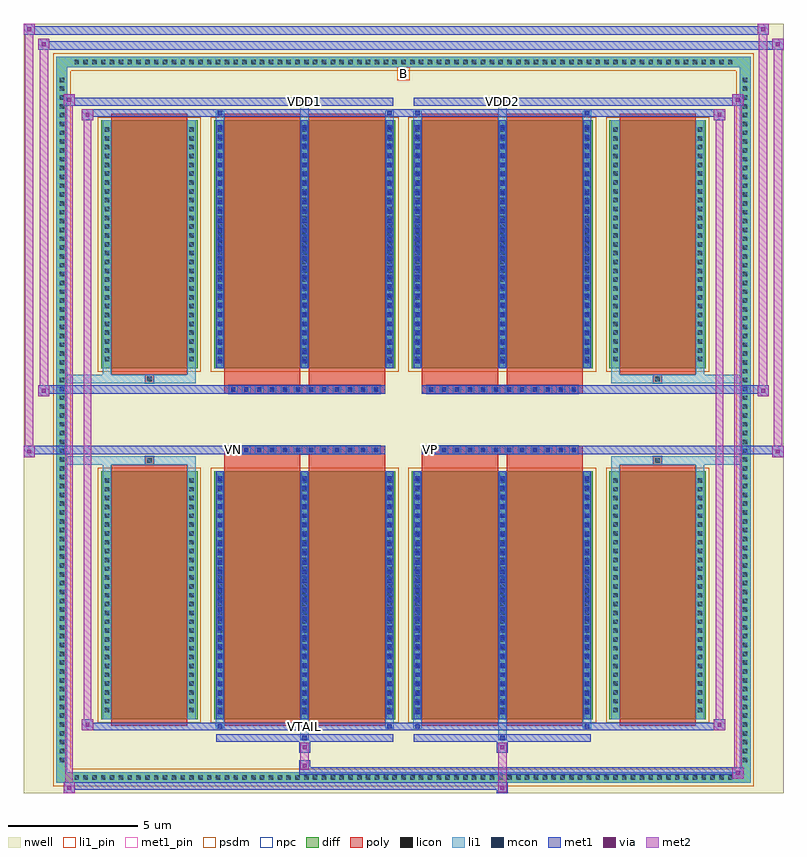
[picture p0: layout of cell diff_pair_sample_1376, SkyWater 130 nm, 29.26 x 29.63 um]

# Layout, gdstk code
import gdstk
lib = gdstk.Library(unit=1e-6, precision=5e-09)
def R(c, l, rs):  # rectangles x0, y0, x1, y1
    for r in rs: c.add(gdstk.rectangle(r[:2], r[2:], *l))
def A(c, l, x, y, w, h, nx, ny, dx, dy):  # array of equal rectangles
    R(c, l, [(x+i*dx, y+j*dy, x+i*dx+w, y+j*dy+h) for i in range(nx) for j in range(ny)])
def P(c, l, *ps):  # polygons
    for p in ps: c.add(gdstk.Polygon(p, *l))
nwell = (64, 20)
diff = (65, 20)
poly = (66, 20)
licon = (66, 44)
li1_pin = (67, 16)
li1 = (67, 20)
mcon = (67, 44)
met1_pin = (68, 16)
met1 = (68, 20)
via = (68, 44)
met2 = (69, 20)
psdm = (94, 20)
npc = (95, 20)

diff_pair_sample_1376 = lib.new_cell('diff_pair_sample_1376')
R(diff_pair_sample_1376, nwell, [(-14.63,-14.38,14.63,15.25), (-11.95,-12.57,-0.01,-0.805), (0.01,-12.57,11.95,-0.805), (-11.95,0.805,-0.01,12.57), (0.01,0.805,11.95,12.57)])
A(diff_pair_sample_1376, diff, -12.785, -13.98, 0.41, 0.41, 75, 2, 0.34, 27.55)
A(diff_pair_sample_1376, diff, -13.36, -13.295, 0.41, 0.41, 1, 78, 0, 0.34)
A(diff_pair_sample_1376, diff, 12.95, -13.295, 0.41, 0.41, 1, 78, 0, 0.34)
R(diff_pair_sample_1376, diff, [(-12.785,-13.98,12.785,-13.57), (-13.36,-13.295,-12.95,13.295), (12.95,-13.295,13.36,13.295), (-11.64,-11.525,-7.93,-1.985), (-7.29,-11.525,-0.32,-1.985), (0.32,-11.525,7.29,-1.985), (7.93,-11.525,11.64,-1.985), (-11.64,1.985,-7.93,11.525), (-7.29,1.985,-0.32,11.525), (0.32,1.985,7.29,11.525), (7.93,1.985,11.64,11.525), (-12.785,13.57,12.785,13.98)])
P(diff_pair_sample_1376, diff, [(13.36,13.98),(-13.36,13.98),(-13.36,-13.57),(-12.95,-13.57),(-12.95,13.57),(12.95,13.57),(12.95,-13.57),(-12.95,-13.57),(-13.36,-13.57),(-13.36,-13.98),(13.36,-13.98)])
A(diff_pair_sample_1376, poly, -6.72, -1.335, 0.33, 0.33, 12, 2, 0.5, 2.34)
A(diff_pair_sample_1376, poly, 0.89, -1.335, 0.33, 0.33, 12, 2, 0.5, 2.34)
R(diff_pair_sample_1376, poly, [(-11.25,-11.775,-8.32,-1.735), (-6.9,-11.775,-3.97,-1.735), (-3.64,-11.775,-0.71,-1.735), (0.71,-11.775,3.64,-1.735), (3.97,-11.775,6.9,-1.735), (8.32,-11.775,11.25,-1.735), (-9.95,-1.735,-9.62,-1.405), (-9.95,-1.735,-9.62,-1.405), (-6.9,-1.735,-3.97,-1.335), (-3.64,-1.735,-0.71,-1.335), (0.71,-1.735,3.64,-1.335), (3.97,-1.735,6.9,-1.335), (9.62,-1.735,9.95,-1.405), (9.62,-1.735,9.95,-1.405), (-6.9,-1.335,-0.71,-1.005), (0.71,-1.335,6.9,-1.005), (-6.9,1.005,-0.71,1.335), (0.71,1.005,6.9,1.335), (-6.9,1.335,-3.97,1.735), (-3.64,1.335,-0.71,1.735), (0.71,1.335,3.64,1.735), (3.97,1.335,6.9,1.735), (-9.95,1.405,-9.62,1.735), (-9.95,1.405,-9.62,1.735), (9.62,1.405,9.95,1.735), (9.62,1.405,9.95,1.735), (-11.25,1.735,-8.32,11.775), (-6.9,1.735,-3.97,11.775), (-3.64,1.735,-0.71,11.775), (0.71,1.735,3.64,11.775), (3.97,1.735,6.9,11.775), (8.32,1.735,11.25,11.775)])
A(diff_pair_sample_1376, licon, -12.665, -13.86, 0.17, 0.17, 75, 2, 0.34, 27.55)
A(diff_pair_sample_1376, licon, -13.24, -13.175, 0.17, 0.17, 1, 78, 0, 0.34)
A(diff_pair_sample_1376, licon, 13.07, -13.175, 0.17, 0.17, 1, 78, 0, 0.34)
A(diff_pair_sample_1376, licon, -11.5, -11.26, 0.17, 0.17, 1, 27, 0, 0.34)
A(diff_pair_sample_1376, licon, -8.24, -11.26, 0.17, 0.17, 1, 27, 0, 0.34)
A(diff_pair_sample_1376, licon, -7.15, -11.26, 0.17, 0.17, 3, 27, 3.26, 0.34)
A(diff_pair_sample_1376, licon, 0.46, -11.26, 0.17, 0.17, 3, 27, 3.26, 0.34)
A(diff_pair_sample_1376, licon, 8.07, -11.26, 0.17, 0.17, 1, 27, 0, 0.34)
A(diff_pair_sample_1376, licon, 11.33, -11.26, 0.17, 0.17, 1, 27, 0, 0.34)
A(diff_pair_sample_1376, licon, -6.64, -1.255, 0.17, 0.17, 12, 2, 0.5, 2.34)
A(diff_pair_sample_1376, licon, 0.97, -1.255, 0.17, 0.17, 12, 2, 0.5, 2.34)
A(diff_pair_sample_1376, licon, -11.5, 2.25, 0.17, 0.17, 1, 27, 0, 0.34)
A(diff_pair_sample_1376, licon, -8.24, 2.25, 0.17, 0.17, 1, 27, 0, 0.34)
A(diff_pair_sample_1376, licon, -7.15, 2.25, 0.17, 0.17, 3, 27, 3.26, 0.34)
A(diff_pair_sample_1376, licon, 0.46, 2.25, 0.17, 0.17, 3, 27, 3.26, 0.34)
A(diff_pair_sample_1376, licon, 8.07, 2.25, 0.17, 0.17, 1, 27, 0, 0.34)
A(diff_pair_sample_1376, licon, 11.33, 2.25, 0.17, 0.17, 1, 27, 0, 0.34)
R(diff_pair_sample_1376, licon, [(-9.87,-1.655,-9.7,-1.485), (9.7,-1.655,9.87,-1.485), (-9.87,1.485,-9.7,1.655), (9.7,1.485,9.87,1.655)])
R(diff_pair_sample_1376, li1_pin, [(-0.25,13.07,0.25,13.57)])
A(diff_pair_sample_1376, li1, -12.745, -13.94, 0.33, 0.33, 75, 2, 0.34, 27.55)
A(diff_pair_sample_1376, li1, -13.32, -13.255, 0.33, 0.33, 1, 78, 0, 0.34)
A(diff_pair_sample_1376, li1, 12.99, -13.255, 0.33, 0.33, 1, 78, 0, 0.34)
A(diff_pair_sample_1376, li1, -7.23, -11.525, 0.33, 9.54, 3, 2, 3.26, 13.51)
A(diff_pair_sample_1376, li1, 0.38, -11.525, 0.33, 9.54, 3, 2, 3.26, 13.51)
A(diff_pair_sample_1376, li1, -11.58, -11.34, 0.33, 0.33, 1, 27, 0, 0.34)
A(diff_pair_sample_1376, li1, -8.32, -11.34, 0.33, 0.33, 1, 27, 0, 0.34)
A(diff_pair_sample_1376, li1, -7.23, -11.34, 0.33, 0.33, 3, 27, 3.26, 0.34)
A(diff_pair_sample_1376, li1, -7.15, -11.34, 0.17, 0.17, 3, 26, 3.26, 0.36)
A(diff_pair_sample_1376, li1, -7.15, -11.34, 0.17, 9.17, 3, 2, 3.26, 13.51)
A(diff_pair_sample_1376, li1, 0.38, -11.34, 0.33, 0.33, 3, 27, 3.26, 0.34)
A(diff_pair_sample_1376, li1, 0.46, -11.34, 0.17, 0.17, 3, 26, 3.26, 0.36)
A(diff_pair_sample_1376, li1, 0.46, -11.34, 0.17, 9.17, 3, 2, 3.26, 13.51)
A(diff_pair_sample_1376, li1, 7.99, -11.34, 0.33, 0.33, 1, 27, 0, 0.34)
A(diff_pair_sample_1376, li1, 11.25, -11.34, 0.33, 0.33, 1, 27, 0, 0.34)
A(diff_pair_sample_1376, li1, -6.72, -1.335, 0.33, 0.33, 12, 2, 0.5, 2.34)
A(diff_pair_sample_1376, li1, 0.89, -1.335, 0.33, 0.33, 12, 2, 0.5, 2.34)
A(diff_pair_sample_1376, li1, -11.58, 2.17, 0.33, 0.33, 1, 27, 0, 0.34)
A(diff_pair_sample_1376, li1, -8.32, 2.17, 0.33, 0.33, 1, 27, 0, 0.34)
A(diff_pair_sample_1376, li1, -7.23, 2.17, 0.33, 0.33, 3, 27, 3.26, 0.34)
A(diff_pair_sample_1376, li1, -7.15, 2.17, 0.17, 0.17, 3, 26, 3.26, 0.36)
A(diff_pair_sample_1376, li1, 0.38, 2.17, 0.33, 0.33, 3, 27, 3.26, 0.34)
A(diff_pair_sample_1376, li1, 0.46, 2.17, 0.17, 0.17, 3, 26, 3.26, 0.36)
A(diff_pair_sample_1376, li1, 7.99, 2.17, 0.33, 0.33, 1, 27, 0, 0.34)
A(diff_pair_sample_1376, li1, 11.25, 2.17, 0.33, 0.33, 1, 27, 0, 0.34)
R(diff_pair_sample_1376, li1, [(-13.36,-13.98,-12.95,-13.57), (-13.36,-13.98,-12.95,-13.57), (-12.95,-13.98,12.95,-13.57), (12.95,-13.98,13.36,-13.57), (12.95,-13.98,13.36,-13.57), (-13.36,-13.57,-12.95,13.57), (12.95,-13.57,13.36,13.57), (-3.97,-12.33,-3.64,-11.525), (-3.89,-12.33,-3.72,-12.16), (3.64,-12.33,3.97,-11.525), (3.72,-12.33,3.89,-12.16), (-7.23,-11.9,-6.9,-11.525), (-7.15,-11.9,-6.98,-11.73), (-0.71,-11.9,-0.38,-11.525), (-0.63,-11.9,-0.46,-11.73), (0.38,-11.9,0.71,-11.525), (0.46,-11.9,0.63,-11.73), (6.9,-11.9,7.23,-11.525), (6.98,-11.9,7.15,-11.73), (-11.58,-11.525,-11.25,-1.985), (-8.32,-11.525,-7.99,-1.985), (7.99,-11.525,8.32,-1.985), (11.25,-11.525,11.58,-1.985), (-11.58,-1.985,-11.25,-1.405), (-8.32,-1.985,-7.99,-1.405), (7.99,-1.985,8.32,-1.405), (11.25,-1.985,11.58,-1.405), (-13.36,-1.735,-9.95,-1.405), (-11.58,-1.735,-9.95,-1.405), (-9.95,-1.735,-9.62,-1.405), (-9.62,-1.735,-7.99,-1.405), (7.99,-1.735,9.62,-1.405), (9.62,-1.735,9.95,-1.405), (9.62,-1.735,13.36,-1.405), (9.95,-1.735,11.58,-1.405), (-13.36,1.405,-9.95,1.735), (-11.58,1.405,-9.95,1.735), (-11.58,1.405,-11.25,1.985), (-9.95,1.405,-9.62,1.735), (-9.62,1.405,-7.99,1.735), (-8.32,1.405,-7.99,1.985), (7.99,1.405,9.62,1.735), (7.99,1.405,8.32,1.985), (9.62,1.405,9.95,1.735), (9.62,1.405,13.36,1.735), (9.95,1.405,11.58,1.735), (11.25,1.405,11.58,1.985), (-11.58,1.985,-11.25,11.525), (-8.32,1.985,-7.99,11.525), (7.99,1.985,8.32,11.525), (11.25,1.985,11.58,11.525), (-7.23,11.525,-6.9,11.9), (-3.97,11.525,-3.64,12.33), (-0.71,11.525,-0.38,11.9), (0.38,11.525,0.71,11.9), (3.64,11.525,3.97,12.33), (6.9,11.525,7.23,11.9), (-7.15,11.73,-6.98,11.9), (-0.63,11.73,-0.46,11.9), (0.46,11.73,0.63,11.9), (6.98,11.73,7.15,11.9), (-3.89,12.16,-3.72,12.33), (3.72,12.16,3.89,12.33), (-13.36,13.57,-12.95,13.98), (-13.36,13.57,-12.95,13.98), (-12.95,13.57,12.95,13.98), (12.95,13.57,13.36,13.98), (12.95,13.57,13.36,13.98)])
A(diff_pair_sample_1376, mcon, -7.15, -11.34, 0.17, 0.17, 3, 26, 3.26, 0.36)
A(diff_pair_sample_1376, mcon, 0.46, -11.34, 0.17, 0.17, 3, 26, 3.26, 0.36)
A(diff_pair_sample_1376, mcon, -6.64, -1.255, 0.17, 0.17, 12, 2, 0.5, 2.34)
A(diff_pair_sample_1376, mcon, 0.97, -1.255, 0.17, 0.17, 12, 2, 0.5, 2.34)
A(diff_pair_sample_1376, mcon, -7.15, 2.17, 0.17, 0.17, 3, 26, 3.26, 0.36)
A(diff_pair_sample_1376, mcon, 0.46, 2.17, 0.17, 0.17, 3, 26, 3.26, 0.36)
R(diff_pair_sample_1376, mcon, [(-3.89,-12.33,-3.72,-12.16), (3.72,-12.33,3.89,-12.16), (-7.15,-11.9,-6.98,-11.73), (-0.63,-11.9,-0.46,-11.73), (0.46,-11.9,0.63,-11.73), (6.98,-11.9,7.15,-11.73), (-7.15,11.73,-6.98,11.9), (-0.63,11.73,-0.46,11.9), (0.46,11.73,0.63,11.9), (6.98,11.73,7.15,11.9), (-3.89,12.16,-3.72,12.33), (3.72,12.16,3.89,12.33)])
R(diff_pair_sample_1376, met1_pin, [(-3.94,-11.94,-3.67,-11.67), (-6.69,-1.295,-6.42,-1.025), (0.92,-1.295,1.19,-1.025), (-3.94,12.12,-3.67,12.39), (3.67,12.12,3.94,12.39)])
A(diff_pair_sample_1376, met1, -7.21, -11.525, 0.29, 9.54, 3, 2, 3.26, 13.51)
A(diff_pair_sample_1376, met1, 0.4, -11.525, 0.29, 9.54, 3, 2, 3.26, 13.51)
A(diff_pair_sample_1376, met1, -7.21, -11.4, 0.29, 0.29, 3, 26, 3.26, 0.36)
A(diff_pair_sample_1376, met1, 0.4, -11.4, 0.29, 0.29, 3, 26, 3.26, 0.36)
A(diff_pair_sample_1376, met1, -6.7, -1.315, 0.29, 0.29, 12, 2, 0.5, 2.34)
A(diff_pair_sample_1376, met1, 0.91, -1.315, 0.29, 0.29, 12, 2, 0.5, 2.34)
A(diff_pair_sample_1376, met1, -7.21, 2.11, 0.29, 0.29, 3, 26, 3.26, 0.36)
A(diff_pair_sample_1376, met1, 0.4, 2.11, 0.29, 0.29, 3, 26, 3.26, 0.36)
R(diff_pair_sample_1376, met1, [(-13.09,-14.38,-12.66,-13.95), (3.59,-14.38,4.02,-13.95), (-13.09,-14.24,4.02,-13.95), (12.66,-13.81,13.09,-13.38), (-4.02,-13.67,13.09,-13.38), (-4.02,-13.53,-3.59,-13.1), (-4.02,-12.82,-3.59,-12.39), (3.59,-12.82,4.02,-12.39), (-7.21,-12.39,-0.4,-12.1), (-3.95,-12.39,-3.66,-12.1), (0.4,-12.39,7.21,-12.1), (3.66,-12.39,3.95,-12.1), (-12.38,-11.96,-11.95,-11.53), (-12.38,-11.96,-7.21,-11.67), (-7.21,-11.96,-6.92,-11.67), (-7.21,-11.96,-0.4,-11.67), (-0.69,-11.96,-0.4,-11.67), (-0.4,-11.96,0.4,-11.67), (0.4,-11.96,0.69,-11.67), (0.4,-11.96,7.21,-11.67), (6.92,-11.96,7.21,-11.67), (7.21,-11.96,12.38,-11.67), (11.95,-11.96,12.38,-11.53), (-14.63,-1.435,-14.2,-1.005), (14.2,-1.435,14.63,-1.005), (-14.63,-1.335,-0.71,-1.005), (-6.9,-1.335,-0.71,-1.005), (0.71,-1.335,6.9,-1.005), (0.71,-1.335,14.63,-1.005), (-14.06,0.905,-13.63,1.335), (13.63,0.905,14.06,1.335), (-14.06,1.005,-6.9,1.335), (-6.9,1.005,-0.71,1.335), (0.71,1.005,6.9,1.335), (6.9,1.005,14.06,1.335), (-12.38,11.53,-11.95,11.96), (11.95,11.53,12.38,11.96), (-12.38,11.67,-7.21,11.96), (-7.21,11.67,-6.92,11.96), (-7.21,11.67,-0.4,11.96), (-0.69,11.67,-0.4,11.96), (-0.4,11.67,0.4,11.96), (0.4,11.67,0.69,11.96), (0.4,11.67,7.21,11.96), (6.92,11.67,7.21,11.96), (7.21,11.67,12.38,11.96), (-13.09,12.1,-12.66,12.53), (-13.09,12.1,-7.21,12.39), (-7.21,12.1,-0.4,12.39), (-3.95,12.1,-3.66,12.39), (0.4,12.1,7.21,12.39), (3.66,12.1,3.95,12.39), (7.21,12.1,13.09,12.39), (12.66,12.1,13.09,12.53), (-14.06,14.25,-13.63,14.68), (-14.06,14.25,-11.95,14.58), (-11.95,14.25,11.95,14.58), (11.95,14.25,14.63,14.58), (14.2,14.25,14.63,14.68), (-14.63,14.82,-14.2,15.25), (-14.63,14.82,-11.95,15.15), (-11.95,14.82,11.95,15.15), (11.95,14.82,14.06,15.15), (13.63,14.82,14.06,15.25)])
R(diff_pair_sample_1376, via, [(-12.95,-14.24,-12.8,-14.09), (3.73,-14.24,3.88,-14.09), (12.8,-13.67,12.95,-13.52), (-3.88,-13.39,-3.73,-13.24), (-3.88,-12.68,-3.73,-12.53), (3.73,-12.68,3.88,-12.53), (-12.24,-11.82,-12.09,-11.67), (12.09,-11.82,12.24,-11.67), (-14.49,-1.295,-14.34,-1.145), (14.34,-1.295,14.49,-1.145), (-13.92,1.045,-13.77,1.195), (13.77,1.045,13.92,1.195), (-12.24,11.67,-12.09,11.82), (12.09,11.67,12.24,11.82), (-12.95,12.24,-12.8,12.39), (12.8,12.24,12.95,12.39), (-13.92,14.39,-13.77,14.54), (14.34,14.39,14.49,14.54), (-14.49,14.96,-14.34,15.11), (13.77,14.96,13.92,15.11)])
R(diff_pair_sample_1376, met2, [(-13.09,-14.38,-12.66,-13.95), (-13.02,-14.38,-12.73,12.53), (-12.73,-14.38,-12.66,-13.95), (-13.04,-14.33,-12.71,-14), (3.64,-14.33,3.97,-14), (3.64,-14,3.97,-12.77), (12.66,-13.81,13.09,-13.38), (12.73,-13.81,13.02,12.53), (13.02,-13.81,13.09,-13.38), (12.71,-13.76,13.04,-13.43), (-3.97,-13.48,-3.64,-13.15), (-3.97,-13.15,-3.64,-12.77), (-3.97,-12.77,-3.64,-12.44), (3.64,-12.77,3.97,-12.44), (-12.38,-11.96,-11.95,-11.53), (-12.31,-11.96,-12.02,11.96), (-12.02,-11.96,-11.95,-11.53), (11.95,-11.96,12.38,-11.53), (12.02,-11.96,12.31,11.96), (12.31,-11.96,12.38,-11.53), (-12.33,-11.91,-12,-11.58), (12,-11.91,12.33,-11.58), (-14.63,-1.435,-14.2,-1.005), (-14.58,-1.435,-14.25,15.25), (-14.25,-1.435,-14.2,-1.005), (14.2,-1.435,14.63,-1.005), (14.25,-1.435,14.58,14.68), (14.58,-1.435,14.63,-1.005), (-14.58,-1.385,-14.25,-1.055), (14.25,-1.385,14.58,-1.055), (-14.06,0.905,-13.63,1.335), (-14.01,0.905,-13.68,14.68), (-13.68,0.905,-13.63,1.335), (13.63,0.905,14.06,1.335), (13.68,0.905,14.01,15.25), (14.01,0.905,14.06,1.335), (-14.01,0.955,-13.68,1.285), (13.68,0.955,14.01,1.285), (-12.38,11.53,-11.95,11.96), (-12.02,11.53,-11.95,11.96), (11.95,11.53,12.38,11.96), (12.31,11.53,12.38,11.96), (-12.33,11.58,-12,11.91), (12,11.58,12.33,11.91), (-13.09,12.1,-12.66,12.53), (-12.73,12.1,-12.66,12.53), (12.66,12.1,13.09,12.53), (13.02,12.1,13.09,12.53), (-13.04,12.15,-12.71,12.48), (12.71,12.15,13.04,12.48), (-14.06,14.25,-13.63,14.68), (-13.68,14.25,-13.63,14.68), (14.2,14.25,14.63,14.68), (14.58,14.25,14.63,14.68), (-14.01,14.3,-13.68,14.63), (14.25,14.3,14.58,14.63), (-14.63,14.82,-14.2,15.25), (-14.25,14.82,-14.2,15.25), (13.63,14.82,14.06,15.25), (14.01,14.82,14.06,15.25), (-14.58,14.87,-14.25,15.2), (13.68,14.87,14.01,15.2)])
R(diff_pair_sample_1376, psdm, [(-11.77,-11.655,-7.8,-1.855), (-7.42,-11.655,-0.19,-1.855), (0.19,-11.655,7.42,-1.855), (7.8,-11.655,11.77,-1.855), (-11.77,1.855,-7.8,11.655), (-7.42,1.855,-0.19,11.655), (0.19,1.855,7.42,11.655), (7.8,1.855,11.77,11.655)])
P(diff_pair_sample_1376, psdm, [(13.49,14.11),(-13.49,14.11),(-13.49,-13.44),(-12.82,-13.44),(-12.82,13.44),(12.82,13.44),(12.82,-13.44),(-12.82,-13.44),(-13.49,-13.44),(-13.49,-14.11),(13.49,-14.11)])
A(diff_pair_sample_1376, npc, -6.74, -1.355, 0.37, 0.37, 12, 2, 0.5, 2.34)
A(diff_pair_sample_1376, npc, 0.87, -1.355, 0.37, 0.37, 12, 2, 0.5, 2.34)
R(diff_pair_sample_1376, npc, [(-9.97,-1.755,-9.6,-1.385), (9.6,-1.755,9.97,-1.385), (-6.74,-1.355,-5.87,-0.985), (-6.74,-1.355,-5.87,-0.985), (-6.24,-1.355,-5.37,-0.985), (-6.24,-1.355,-5.37,-0.985), (-5.74,-1.355,-4.87,-0.985), (-5.74,-1.355,-4.87,-0.985), (-5.24,-1.355,-4.37,-0.985), (-5.24,-1.355,-4.37,-0.985), (-4.74,-1.355,-3.87,-0.985), (-4.74,-1.355,-3.87,-0.985), (-4.24,-1.355,-3.37,-0.985), (-4.24,-1.355,-3.37,-0.985), (-3.74,-1.355,-2.87,-0.985), (-3.74,-1.355,-2.87,-0.985), (-3.24,-1.355,-2.37,-0.985), (-3.24,-1.355,-2.37,-0.985), (-2.74,-1.355,-1.87,-0.985), (-2.74,-1.355,-1.87,-0.985), (-2.24,-1.355,-1.37,-0.985), (-2.24,-1.355,-1.37,-0.985), (-1.74,-1.355,-0.87,-0.985), (-1.74,-1.355,-0.87,-0.985), (0.87,-1.355,1.74,-0.985), (0.87,-1.355,1.74,-0.985), (1.37,-1.355,2.24,-0.985), (1.37,-1.355,2.24,-0.985), (1.87,-1.355,2.74,-0.985), (1.87,-1.355,2.74,-0.985), (2.37,-1.355,3.24,-0.985), (2.37,-1.355,3.24,-0.985), (2.87,-1.355,3.74,-0.985), (2.87,-1.355,3.74,-0.985), (3.37,-1.355,4.24,-0.985), (3.37,-1.355,4.24,-0.985), (3.87,-1.355,4.74,-0.985), (3.87,-1.355,4.74,-0.985), (4.37,-1.355,5.24,-0.985), (4.37,-1.355,5.24,-0.985), (4.87,-1.355,5.74,-0.985), (4.87,-1.355,5.74,-0.985), (5.37,-1.355,6.24,-0.985), (5.37,-1.355,6.24,-0.985), (5.87,-1.355,6.74,-0.985), (5.87,-1.355,6.74,-0.985), (-6.74,0.985,-5.87,1.355), (-6.74,0.985,-5.87,1.355), (-6.24,0.985,-5.37,1.355), (-6.24,0.985,-5.37,1.355), (-5.74,0.985,-4.87,1.355), (-5.74,0.985,-4.87,1.355), (-5.24,0.985,-4.37,1.355), (-5.24,0.985,-4.37,1.355), (-4.74,0.985,-3.87,1.355), (-4.74,0.985,-3.87,1.355), (-4.24,0.985,-3.37,1.355), (-4.24,0.985,-3.37,1.355), (-3.74,0.985,-2.87,1.355), (-3.74,0.985,-2.87,1.355), (-3.24,0.985,-2.37,1.355), (-3.24,0.985,-2.37,1.355), (-2.74,0.985,-1.87,1.355), (-2.74,0.985,-1.87,1.355), (-2.24,0.985,-1.37,1.355), (-2.24,0.985,-1.37,1.355), (-1.74,0.985,-0.87,1.355), (-1.74,0.985,-0.87,1.355), (0.87,0.985,1.74,1.355), (0.87,0.985,1.74,1.355), (1.37,0.985,2.24,1.355), (1.37,0.985,2.24,1.355), (1.87,0.985,2.74,1.355), (1.87,0.985,2.74,1.355), (2.37,0.985,3.24,1.355), (2.37,0.985,3.24,1.355), (2.87,0.985,3.74,1.355), (2.87,0.985,3.74,1.355), (3.37,0.985,4.24,1.355), (3.37,0.985,4.24,1.355), (3.87,0.985,4.74,1.355), (3.87,0.985,4.74,1.355), (4.37,0.985,5.24,1.355), (4.37,0.985,5.24,1.355), (4.87,0.985,5.74,1.355), (4.87,0.985,5.74,1.355), (5.37,0.985,6.24,1.355), (5.37,0.985,6.24,1.355), (5.87,0.985,6.74,1.355), (5.87,0.985,6.74,1.355), (-9.97,1.385,-9.6,1.755), (9.6,1.385,9.97,1.755)])
diff_pair_sample_1376.add(gdstk.Label('VTAIL', (-3.805,-11.805), layer=68, texttype=5))
diff_pair_sample_1376.add(gdstk.Label('VN', (-6.555,-1.16), layer=68, texttype=5))
diff_pair_sample_1376.add(gdstk.Label('VP', (1.055,-1.16), layer=68, texttype=5))
diff_pair_sample_1376.add(gdstk.Label('B', (0,13.32), layer=67, texttype=5))
diff_pair_sample_1376.add(gdstk.Label('VDD2', (3.805,12.255), layer=68, texttype=5))
diff_pair_sample_1376.add(gdstk.Label('VDD1', (-3.805,12.255), layer=68, texttype=5))

lib.write_gds('diff_pair_sample_1376.gds')
